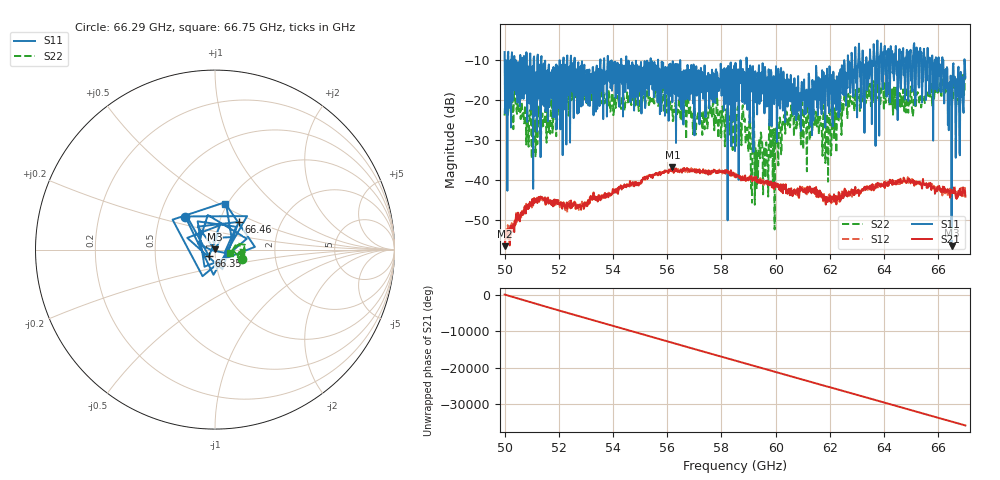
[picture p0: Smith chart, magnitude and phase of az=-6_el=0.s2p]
!Created with skrf (http://scikit-rf.org).
# GHz S RI R 50.0
!freq ReS11 ImS11 ReS21 ImS21 ReS12 ImS12 ReS22 ImS22
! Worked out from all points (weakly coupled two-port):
!   1001 points, 50 GHz to 67 GHz, reference 50 ohm
!   highest |S21| = -36.82 dB at 56.19 GHz (marker M1); lowest = -56.5 dB at 50 GHz (marker M2)
!   lowest |S11| = -56.3 dB at 66.49 GHz (marker M3), VSWR 1.00, Z = 49.9 + j0.118 ohm
!   |S11| at or under -10 dB: 52.59 GHz to 53.53 GHz (948.6 MHz wide, 1.79 % of centre); 56.48 GHz to 58.92 GHz (2.447 GHz wide, 4.24 % of centre); 58.93 GHz to 62.53 GHz (3.6 GHz wide, 5.93 % of centre) (the widest 3 of 64)
!   |S22| runs from -52.3 to -13.4 dB; largest |S21 - S12| = 0.0022
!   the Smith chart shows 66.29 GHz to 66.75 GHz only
!   S11 on the Smith chart (normalised r, x): 66.29 GHz: 0.68, +0.26; 66.35 GHz: 0.93, -0.07; 66.46 GHz: 1.23, +0.40; 66.75 GHz: 0.98, +0.54
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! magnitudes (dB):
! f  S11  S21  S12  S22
! 50 GHz  -8.0  -56.5  -55.7  -23.9
! 50.15 GHz  -22.0  -53.2  -53.6  -20.7
! 51.31 GHz  -11.1  -44.3  -44.5  -28.1
! 52.84 GHz  -11.7  -46.4  -46.5  -19.6
! 55.68 GHz  -13.3  -38.3  -38.6  -21.4
! 56.19 GHz  -20.5  -36.8  -37.3  -21.9
! 58.5 GHz  -32.7  -39.0  -38.9  -23.6
! 58.86 GHz  -20.9  -39.8  -40.2  -24.6
! 59.3 GHz  -15.3  -40.5  -40.1  -42.0
! 60.64 GHz  -15.9  -42.7  -43.0  -22.6
! 61.34 GHz  -28.8  -42.1  -42.8  -26.4
! 62 GHz  -12.2  -43.9  -44.8  -23.7
! 62.55 GHz  -11.5  -42.1  -43.1  -18.6
! 63.01 GHz  -24.3  -43.2  -42.4  -19.8
! 64.18 GHz  -11.6  -40.7  -40.9  -17.5
! 65.56 GHz  -11.6  -40.7  -41.3  -19.5
! 66.29 GHz  -12.2  -42.5  -42.8  -16.1
! 66.35 GHz  -26.2  -42.3  -44.1  -15.6
! 66.46 GHz  -13.9  -43.0  -42.9  -17.2
! 66.49 GHz  -56.3  -42.9  -43.2  -15.5
! 66.75 GHz  -11.6  -42.7  -42.9  -21.1
! 67 GHz  -14.4  -43.9  -44.4  -14.2
